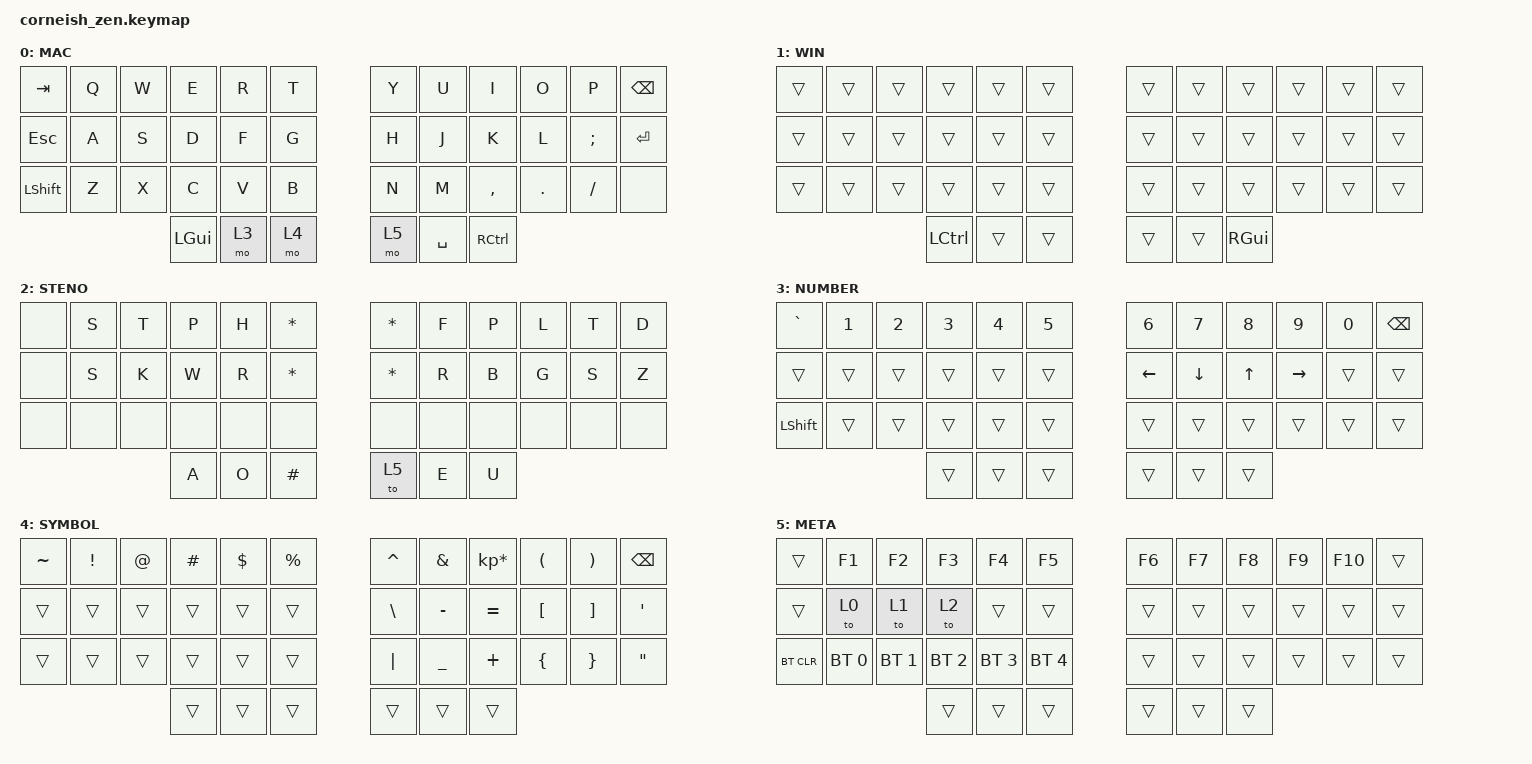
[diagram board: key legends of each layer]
/*
*
* Copyright (c) 2021 Darryl deHaan
* SPDX-License-Identifier: MIT
*
*/

#include <behaviors.dtsi>
#include <dt-bindings/zmk/keys.h>
#include <dt-bindings/zmk/bt.h>

/ {
    chosen {
        zmk,matrix_transform = &default_transform;

        //zmk,matrix_transform = &five_column_transform;
    };
};

/ {
    keymap {
        compatible = "zmk,keymap";

        MacOS {
            label = "MAC";
            bindings = <
  &kp TAB  &kp Q  &kp W     &kp E  &kp R  &kp T  &kp Y      &kp U              &kp I    &kp O     &kp P   &kp BSPC
  &kp ESC  &kp A  &kp S     &kp D  &kp F  &kp G  &kp H      &kp J              &kp K    &kp L  &kp SEMI  &kp ENTER
&kp LSHFT  &kp Z  &kp X     &kp C  &kp V  &kp B  &kp N      &kp M          &kp COMMA  &kp DOT  &kp FSLH      &none
                         &kp LGUI  &mo 3  &mo 4  &mo 5  &kp SPACE  &kp RIGHT_CONTROL
            >;
        };

        Windows {
            label = "WIN";
            bindings = <
&trans  &trans  &trans     &trans  &trans  &trans  &trans  &trans    &trans  &trans  &trans  &trans
&trans  &trans  &trans     &trans  &trans  &trans  &trans  &trans    &trans  &trans  &trans  &trans
&trans  &trans  &trans     &trans  &trans  &trans  &trans  &trans    &trans  &trans  &trans  &trans
                        &kp LCTRL  &trans  &trans  &trans  &trans  &kp RGUI
            >;
        };

        Stenography {
            label = "STENO ";
            bindings = <
&none  &kp S  &kp T  &kp P  &kp H  &kp STAR  &kp STAR  &kp F  &kp P  &kp L  &kp T  &kp D
&none  &kp S  &kp K  &kp W  &kp R  &kp STAR  &kp STAR  &kp R  &kp B  &kp G  &kp S  &kp Z
&none  &none  &none  &none  &none     &none     &none  &none  &none  &none  &none  &none
                     &kp A  &kp O  &kp HASH     &to 5  &kp E  &kp U
            >;
        };

        Numbers {
            label = "NUMBER";
            bindings = <
&kp GRAVE  &kp N1  &kp N2  &kp N3  &kp N4  &kp N5    &kp N6    &kp N7  &kp N8     &kp N9  &kp N0  &kp BSPC
   &trans  &trans  &trans  &trans  &trans  &trans  &kp LEFT  &kp DOWN  &kp UP  &kp RIGHT  &trans    &trans
&kp LSHFT  &trans  &trans  &trans  &trans  &trans    &trans    &trans  &trans     &trans  &trans    &trans
                           &trans  &trans  &trans    &trans    &trans  &trans
            >;
        };

        Symbols {
            label = "SYMBOL";
            bindings = <
&kp TILDE  &kp EXCL  &kp AT  &kp HASH  &kp DLLR  &kp PRCNT      &kp CARET   &kp AMPS  &kp KP_MULTIPLY          &kp LPAR           &kp RPAR           &kp BSPC
   &trans    &trans  &trans    &trans    &trans     &trans  &kp BACKSLASH  &kp MINUS        &kp EQUAL  &kp LEFT_BRACKET  &kp RIGHT_BRACKET   &kp SINGLE_QUOTE
   &trans    &trans  &trans    &trans    &trans     &trans       &kp PIPE  &kp UNDER         &kp PLUS    &kp LEFT_BRACE    &kp RIGHT_BRACE  &kp DOUBLE_QUOTES
                               &trans    &trans     &trans         &trans     &trans           &trans
            >;
        };

        Meta {
            label = "META";
            bindings = <
    &trans        &kp F1        &kp F2        &kp F3        &kp F4        &kp F5  &kp F6  &kp F7  &kp F8  &kp F9  &kp F10  &trans
    &trans         &to 0         &to 1         &to 2        &trans        &trans  &trans  &trans  &trans  &trans   &trans  &trans
&bt BT_CLR  &bt BT_SEL 0  &bt BT_SEL 1  &bt BT_SEL 2  &bt BT_SEL 3  &bt BT_SEL 4  &trans  &trans  &trans  &trans   &trans  &trans
                                              &trans        &trans        &trans  &trans  &trans  &trans
            >;
        };
    };
};
